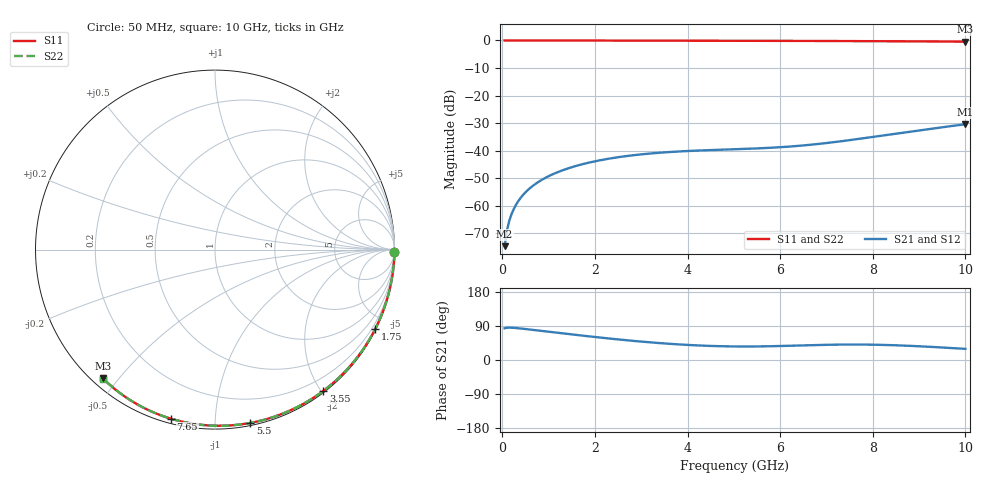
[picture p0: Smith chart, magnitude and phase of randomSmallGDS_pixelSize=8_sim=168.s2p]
! freq	dB(S11)	phase(S11)	dB(S12)	phase(S12)
!  dB(S21)	phase(S21)	dB(S22)	phase(S22)
!S-par simulation data
#  GHz  S  DB  R 50
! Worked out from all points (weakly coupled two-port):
!   200 points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, 50 MHz to 10 GHz, reference 50 ohm
!   highest |S21| = -30.41 dB at 10 GHz (marker M1); lowest = -74.7 dB at 50 MHz (marker M2)
!   lowest |S11| = -0.4 dB at 10 GHz (marker M3), VSWR 40.06, Z = 1.51 - j22.8 ohm
!   |S11| at or under -10 dB: nowhere
!   |S22| runs from -0.4 to 0.0 dB; largest |S21 - S12| = 0
!   S11 on the Smith chart (normalised r, x): 50 MHz: open; 1.75 GHz: 0.04, -4.25; 3.55 GHz: 0.02, -2.03; 5.5 GHz: 0.02, -1.22; 7.65 GHz: 0.02, -0.77; 10 GHz: 0.03, -0.46
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0.05  -0.00 -0.8  -74.66 83.7  -74.66 83.7  -0.00 -0.8
0.1  -0.00 -1.5  -68.93 85.2  -68.93 85.2  -0.00 -1.5
0.15  -0.00 -2.3  -65.48 85.5  -65.48 85.5  -0.00 -2.3
0.2  -0.00 -3.1  -63.01 85.3  -63.01 85.3  -0.00 -3.1
0.25  -0.00 -3.9  -61.08 84.8  -61.08 84.8  -0.00 -3.8
0.35  -0.00 -5.4  -58.18 83.7  -58.18 83.7  -0.00 -5.4
0.5  -0.01 -7.7  -55.12 81.7  -55.12 81.7  -0.01 -7.7
0.7  -0.01 -10.7  -52.25 78.9  -52.25 78.9  -0.01 -10.7
1  -0.02 -15.3  -49.26 74.6  -49.26 74.6  -0.02 -15.3
1.35  -0.03 -20.5  -46.82 69.6  -46.82 69.6  -0.03 -20.5
1.75  -0.03 -26.5  -44.82 64.0  -44.82 64.0  -0.03 -26.5
2.5  -0.05 -37.5  -42.37 54.3  -42.37 54.3  -0.05 -37.5
3.4  -0.07 -50.4  -40.74 44.6  -40.74 44.6  -0.07 -50.4
3.55  -0.07 -52.5  -40.56 43.2  -40.56 43.2  -0.07 -52.5
4.3  -0.09 -62.7  -39.90 38.0  -39.90 38.0  -0.09 -62.7
5.05  -0.11 -72.7  -39.46 35.7  -39.46 35.7  -0.11 -72.7
5.5  -0.13 -78.5  -39.18 35.8  -39.18 35.8  -0.13 -78.5
6.7  -0.18 -93.4  -37.78 39.3  -37.78 39.3  -0.18 -93.4
7.65  -0.23 -104.6  -35.83 40.9  -35.83 40.9  -0.23 -104.6
8.35  -0.28 -112.7  -34.16 39.4  -34.16 39.4  -0.28 -112.6
9.15  -0.35 -121.6  -32.28 35.3  -32.28 35.3  -0.35 -121.6
10  -0.43 -131.0  -30.41 29.4  -30.41 29.4  -0.43 -131.0
